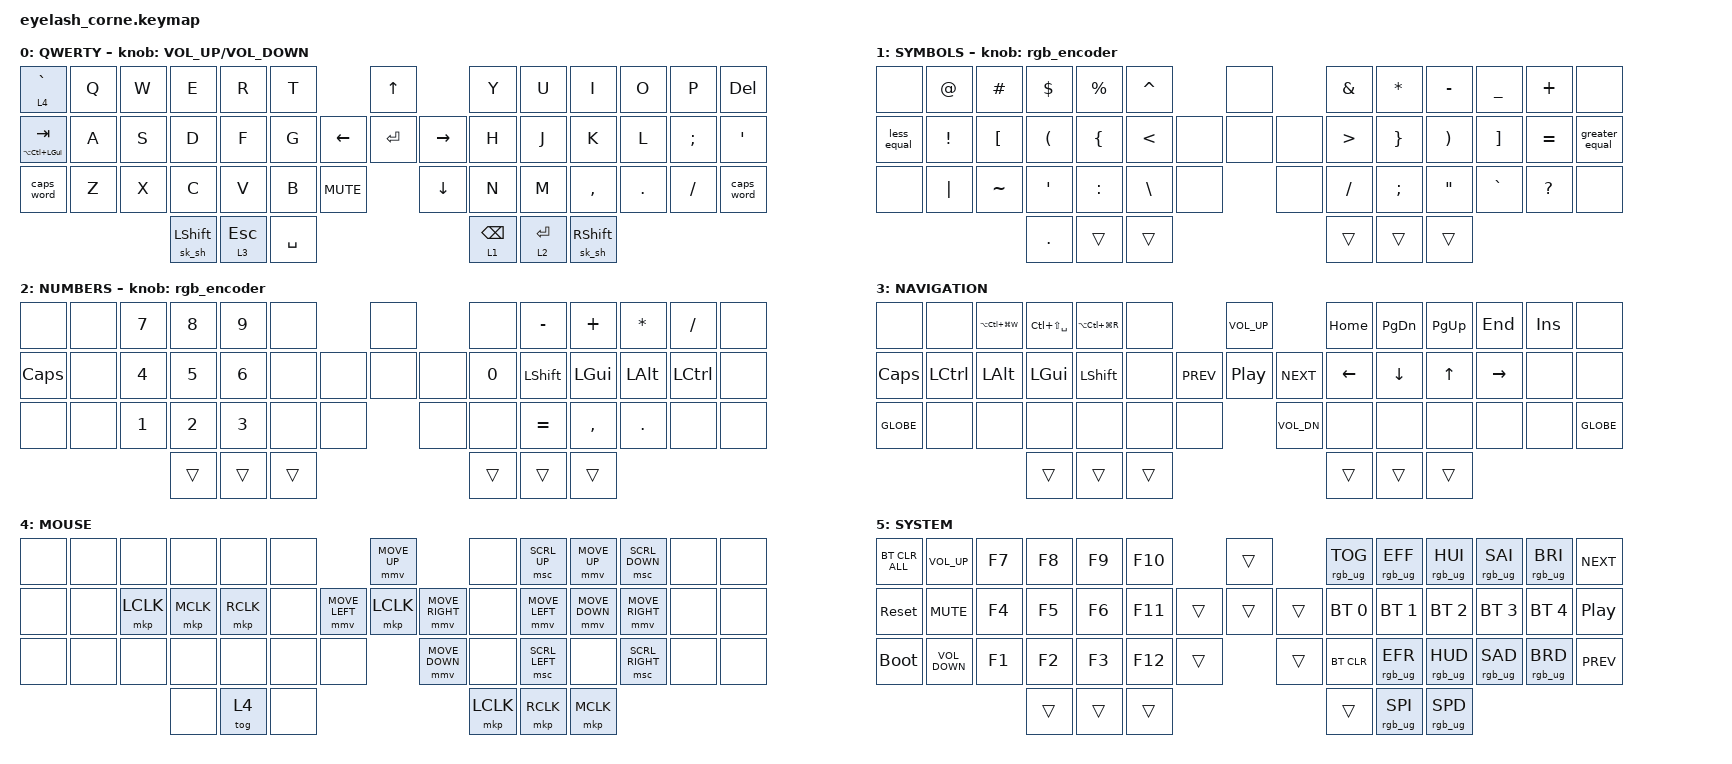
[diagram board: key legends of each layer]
#define ZMK_POINTING_DEFAULT_MOVE_VAL 1000  // 600
#define ZMK_POINTING_DEFAULT_SCRL_VAL 20   // 10

#include <input/processors.dtsi>
#include <zephyr/dt-bindings/input/input-event-codes.h>
#include <behaviors.dtsi>
#include <dt-bindings/zmk/bt.h>
#include <dt-bindings/zmk/keys.h>
#include <dt-bindings/zmk/pointing.h>
#include <dt-bindings/zmk/rgb.h>

&mmv_input_listener { input-processors = <&zip_xy_scaler 2 1>; };

&msc_input_listener { input-processors = <&zip_scroll_scaler 2 1>; };

// &msc {
//     acceleration-exponent = <1>;      // 0
//     time-to-max-speed-ms = <300>;       // 300
//     delay-ms = <0>;                   // 0
// };
// &mmv {
//     time-to-max-speed-ms = <400>;
//     acceleration-exponent = <1>;
//     trigger-period-ms = <8>;
// };

&mmv {
    acceleration-exponent = <1>;          // 1
    time-to-max-speed-ms = <500>;         // 300
    delay-ms = <0>;                       // 0
};

&soft_off { hold-time-ms = <2000>; };

/ {
    behaviors {
        lt_fast: lt_fast {
            compatible = "zmk,behavior-hold-tap";
            label = "LT_FAST";
            bindings = <&mo>, <&kp>;

            #binding-cells = <2>;
            tapping-term-ms = <200>;
            quick-tap-ms = <175>;
            require-prior-idle-ms = <0>;
        };

        sk_sh: sk_sh {
            compatible = "zmk,behavior-sticky-key";
            label = "SK_SH";
            bindings = <&kp>;
            #binding-cells = <1>;
            release-after-ms = <1000>;
            quick-release;
            ignore-modifiers;
        };

        space_layer: space_layer {
            compatible = "zmk,behavior-hold-tap";
            label = "SPACE_LAYER";
            bindings = <&mo>, <&kp>;

            #binding-cells = <2>;
            tapping-term-ms = <150>;
            quick-tap-ms = <220>;
            require-prior-idle-ms = <100>;
            flavor = "balanced";
        };

        bspc_layer: bspc_layer {
            compatible = "zmk,behavior-hold-tap";
            label = "BSPC_LAYER";
            bindings = <&mo>, <&kp>;

            #binding-cells = <2>;
            tapping-term-ms = <130>;
            quick-tap-ms = <200>;
            require-prior-idle-ms = <0>;
            flavor = "hold-preferred";
        };

        mt_fast: mt_fast {
            compatible = "zmk,behavior-hold-tap";
            label = "MT_FAST";
            bindings = <&kp>, <&kp>;

            #binding-cells = <2>;
            tapping-term-ms = <200>;
            quick-tap-ms = <175>;
            require-prior-idle-ms = <0>;
        };
    };

    rgb_encoder: rgb_encoder {
        compatible = "zmk,behavior-sensor-rotate";
        #sensor-binding-cells = <0>;
        bindings = <&rgb_ug RGB_BRI>, <&rgb_ug RGB_BRD>;
    };

    // scroll_encoder: scroll_encoder {
    //     compatible = "zmk,behavior-sensor-rotate";
    //     #sensor-binding-cells = <0>;
    //     bindings = <&msc SCRL_DOWN>, <&msc SCRL_UP>;
    //
    //     tap-ms = <100>;
    // };

    combos {
        compatible = "zmk,combos";

        softoff {
            bindings = <&soft_off>;
            key-positions = <0 13 28>;
        };

        clipboard_screenshot {
            bindings = <&kp LG(LC(LS(NUMBER_4)))>;
            key-positions = <28 13>;
        };

        control_center {
            bindings = <&kp LC(LS(LA(LG(N))))>;
            key-positions = <27 41>;
        };

        lock_screen {
            bindings = <&kp LC(LG(Q))>;
            key-positions = <0 13>;
            layers = <0>;
        };

        alt+backspace {
            bindings = <&kp LA(BACKSPACE)>;
            key-positions = <45 44>;
            layers = <0>;
            require-prior-idle-ms = <75>;
        };

        left_gui {
            bindings = <&sk_sh LEFT_GUI>;
            key-positions = <15 16>;
            require-prior-idle-ms = <150>;
            timeout-ms = <50>;
            layers = <0>;
            slow-release;
        };

        left_alt {
            bindings = <&sk_sh LEFT_ALT>;
            key-positions = <16 17>;
            require-prior-idle-ms = <150>;
            timeout-ms = <50>;
            layers = <0>;
            slow-release;
        };

        left_ctrl {
            bindings = <&sk_sh LCTRL>;
            key-positions = <17 15>;
            require-prior-idle-ms = <150>;
            timeout-ms = <50>;
            layers = <0>;
            slow-release;
        };

        right_gui {
            bindings = <&sk_sh RIGHT_GUI>;
            key-positions = <24 25>;
            require-prior-idle-ms = <150>;
            timeout-ms = <50>;
            layers = <0>;
            slow-release;
        };

        right_alt {
            bindings = <&sk_sh RIGHT_ALT>;
            key-positions = <24 23>;
            require-prior-idle-ms = <150>;
            timeout-ms = <50>;
            layers = <0>;
            slow-release;
        };

        right_ctrl {
            bindings = <&sk_sh RCTRL>;
            key-positions = <23 25>;
            require-prior-idle-ms = <150>;
            timeout-ms = <50>;
            layers = <0>;
            slow-release;
        };

        left_alt_gui {
            bindings = <&sk_sh LA(LEFT_GUI)>;
            key-positions = <17 15 16>;
            timeout-ms = <50>;
            slow-release;
            require-prior-idle-ms = <150>;
            layers = <0>;
        };

        right_alt_gui {
            bindings = <&sk_sh RA(RIGHT_GUI)>;
            key-positions = <23 24 25>;
            timeout-ms = <50>;
            slow-release;
            require-prior-idle-ms = <150>;
            layers = <0>;
        };

        dollar {
            bindings = <&kp DOLLAR>;
            key-positions = <9 24>;
            timeout-ms = <50>;
            slow-release;
            require-prior-idle-ms = <150>;
            layers = <0>;
        };

        caret {
            bindings = <&kp CARET>;
            key-positions = <3 16>;
            timeout-ms = <50>;
            slow-release;
            require-prior-idle-ms = <150>;
            layers = <0>;
        };
    };

    macros {
        email: email {
            compatible = "zmk,behavior-macro";
            #binding-cells = <0>;
            bindings = <&kp J &kp A &kp W &kp A &kp D &kp N1 &kp N1 &kp N8 &kp N8 &kp N7 &kp N7 &kp AT &kp G &kp M &kp A &kp I &kp L &kp DOT &kp C &kp O &kp M>;
            label = "EMAIL";
        };

        uni_id: uni_id {
            compatible = "zmk,behavior-macro";
            #binding-cells = <0>;
            bindings = <&kp N2 &kp N0 &kp N2 &kp N4 &kp N5 &kp N8 &kp N7 &kp N6 &kp N0>;
            label = "UNI_ID";
        };

        less_equal: less_equal {
            compatible = "zmk,behavior-macro";
            #binding-cells = <0>;
            bindings = <&kp LT &kp EQUAL>;
            label = "LESS_EQUAL";
        };

        greater_equal: greater_equal {
            compatible = "zmk,behavior-macro";
            #binding-cells = <0>;
            bindings = <&kp GREATER_THAN &kp EQUAL>;
            label = "GREATER_EQUAL";
        };
    };

    keymap {
        compatible = "zmk,keymap";

        default_layer {
            display-name = "QWERTY";
            bindings = <
&lt 4 GRAVE               &kp Q  &kp W  &kp E              &kp R           &kp T                              &kp UP                &kp Y                    &kp U             &kp I               &kp O    &kp P     &kp DELETE
&mt LA(LC(LEFT_GUI)) TAB  &kp A  &kp S  &kp D              &kp F           &kp G                    &kp LEFT  &kp ENTER  &kp RIGHT  &kp H                    &kp J             &kp K               &kp L    &kp SEMI  &kp SINGLE_QUOTE
&caps_word                &kp Z  &kp X  &kp C              &kp V           &kp B      &kp C_MUTE              &kp DOWN              &kp N                    &kp M             &kp COMMA           &kp DOT  &kp FSLH  &caps_word
                                        &sk_sh LEFT_SHIFT  &lt_fast 3 ESC  &kp SPACE                                                &bspc_layer 1 BACKSPACE  &lt_fast 2 ENTER  &sk_sh RIGHT_SHIFT
            >;

            sensor-bindings = <&inc_dec_kp C_VOLUME_UP C_VOLUME_DOWN>;
        };

        lower_layer {
            bindings = <
&none        &kp AT    &kp HASH          &kp DOLLAR            &kp PERCENT     &kp CARET                      &none         &kp AMPS          &kp STAR         &kp MINUS              &kp UNDERSCORE     &kp PLUS      &none
&less_equal  &kp EXCL  &kp LEFT_BRACKET  &kp LEFT_PARENTHESIS  &kp LEFT_BRACE  &kp LESS_THAN           &none  &none  &none  &kp GREATER_THAN  &kp RIGHT_BRACE  &kp RIGHT_PARENTHESIS  &kp RIGHT_BRACKET  &kp EQUAL     &greater_equal
&none        &kp PIPE  &kp TILDE         &kp SINGLE_QUOTE      &kp COLON       &kp BSLH       &none           &none         &kp SLASH         &kp SEMICOLON    &kp DOUBLE_QUOTES      &kp GRAVE          &kp QUESTION  &none
                                         &kp DOT               &trans          &trans                                       &trans            &trans           &trans
            >;

            label = "SYMBOLS";
            sensor-bindings = <&rgb_encoder>;
        };

        upper_layer {
            bindings = <
&none         &none  &kp N7  &kp N8  &kp N9  &none                   &none         &none   &kp MINUS  &kp PLUS   &kp STAR    &kp SLASH  &none
&kp CAPSLOCK  &none  &kp N4  &kp N5  &kp N6  &none            &none  &none  &none  &kp N0  &kp LSHFT  &kp LGUI   &kp LALT    &kp LCTRL  &none
&none         &none  &kp N1  &kp N2  &kp N3  &none   &none           &none         &none   &kp EQUAL  &kp COMMA  &kp PERIOD  &none      &none
                             &trans  &trans  &trans                                &trans  &trans     &trans
            >;

            label = "NUMBERS";
            sensor-bindings = <&rgb_encoder>;
        };

        nav_layer {
            bindings = <
&none         &none      &kp LA(LC(LG(W)))  &kp LC(LS(SPACE))  &kp LA(LC(LG(R)))  &none                        &kp C_VOLUME_UP              &kp HOME  &kp PAGE_DOWN   &kp PAGE_UP   &kp END    &kp INSERT  &none
&kp CAPSLOCK  &kp LCTRL  &kp LALT           &kp LGUI           &kp LSHFT          &none            &kp C_PREV  &kp C_PP         &kp C_NEXT  &kp LEFT  &kp DOWN_ARROW  &kp UP_ARROW  &kp RIGHT  &none       &none
&kp GLOBE     &none      &none              &none              &none              &none   &none                &kp C_VOL_DN                 &none     &none           &none         &none      &none       &kp GLOBE
                                            &trans             &trans             &trans                                                    &trans    &trans          &trans
            >;

            label = "NAVIGATION";
        };

        mouse_layer {
            display-name = "MOUSE";
            bindings = <
&none  &none  &none      &none      &none      &none                           &mmv MOVE_UP                     &none      &msc SCRL_UP    &mmv MOVE_UP    &msc SCRL_DOWN   &none  &none
&none  &none  &mkp LCLK  &mkp MCLK  &mkp RCLK  &none           &mmv MOVE_LEFT  &mkp LCLK       &mmv MOVE_RIGHT  &none      &mmv MOVE_LEFT  &mmv MOVE_DOWN  &mmv MOVE_RIGHT  &none  &none
&none  &none  &none      &none      &none      &none  &none                    &mmv MOVE_DOWN                   &none      &msc SCRL_LEFT  &none           &msc SCRL_RIGHT  &none  &none
                         &none      &tog 4     &none                                                            &mkp LCLK  &mkp RCLK       &mkp MCLK
            >;

            label = "MOUSE";
        };

        system_layer {
            bindings = <
&bt BT_CLR_ALL  &kp C_VOLUME_UP    &kp F7  &kp F8  &kp F9  &kp F10                    &trans          &rgb_ug RGB_TOG  &rgb_ug RGB_EFF  &rgb_ug RGB_HUI  &rgb_ug RGB_SAI  &rgb_ug RGB_BRI  &kp C_NEXT
&sys_reset      &kp C_MUTE         &kp F4  &kp F5  &kp F6  &kp F11            &trans  &trans  &trans  &bt BT_SEL 0     &bt BT_SEL 1     &bt BT_SEL 2     &bt BT_SEL 3     &bt BT_SEL 4     &kp C_PLAY_PAUSE
&bootloader     &kp C_VOLUME_DOWN  &kp F1  &kp F2  &kp F3  &kp F12  &trans            &trans          &bt BT_CLR       &rgb_ug RGB_EFR  &rgb_ug RGB_HUD  &rgb_ug RGB_SAD  &rgb_ug RGB_BRD  &kp C_PREV
                                           &trans  &trans  &trans                                     &trans           &rgb_ug RGB_SPI  &rgb_ug RGB_SPD
            >;

            label = "SYSTEM";
        };
    };

    conditional_layers {
        compatible = "zmk,conditional-layers";

        system_layer {
            if-layers = <2 3>;
            then-layer = <5>;
        };
    };
};
